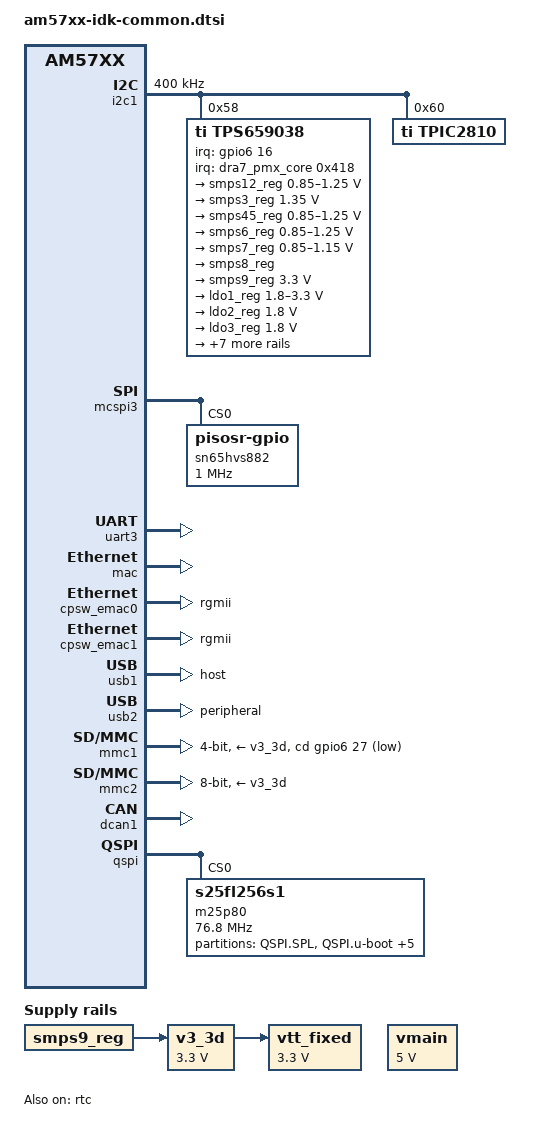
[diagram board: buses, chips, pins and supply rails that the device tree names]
/*
 * Copyright (C) 2015-2016 Texas Instruments Incorporated - http://www.ti.com/
 *
 * This program is free software; you can redistribute it and/or modify
 * it under the terms of the GNU General Public License version 2 as
 * published by the Free Software Foundation.
 */

#include "am57xx-industrial-grade.dtsi"

/ {
	aliases {
		rtc0 = &tps659038_rtc;
		rtc1 = &rtc;
	};

	chosen {
		stdout-path = &uart3;
	};

	vmain: fixedregulator-vmain {
		compatible = "regulator-fixed";
		regulator-name = "VMAIN";
		regulator-min-microvolt = <5000000>;
		regulator-max-microvolt = <5000000>;
		regulator-always-on;
		regulator-boot-on;
	};

	v3_3d: fixedregulator-v3_3d {
		compatible = "regulator-fixed";
		regulator-name = "V3_3D";
		vin-supply = <&smps9_reg>;
		regulator-min-microvolt = <3300000>;
		regulator-max-microvolt = <3300000>;
		regulator-always-on;
		regulator-boot-on;
	};

	vtt_fixed: fixedregulator-vtt {
		/* TPS51200 */
		compatible = "regulator-fixed";
		regulator-name = "vtt_fixed";
		vin-supply = <&v3_3d>;
		regulator-min-microvolt = <3300000>;
		regulator-max-microvolt = <3300000>;
		regulator-always-on;
		regulator-boot-on;
	};

	leds-iio {
		status = "disabled";
		compatible = "gpio-leds";
		led-out0 {
			label = "out0";
			gpios = <&tpic2810 0 GPIO_ACTIVE_HIGH>;
			default-state = "off";
		};

		led-out1 {
			label = "out1";
			gpios = <&tpic2810 1 GPIO_ACTIVE_HIGH>;
			default-state = "off";
		};

		led-out2 {
			label = "out2";
			gpios = <&tpic2810 2 GPIO_ACTIVE_HIGH>;
			default-state = "off";
		};

		led-out3 {
			label = "out3";
			gpios = <&tpic2810 3 GPIO_ACTIVE_HIGH>;
			default-state = "off";
		};

		led-out4 {
			label = "out4";
			gpios = <&tpic2810 4 GPIO_ACTIVE_HIGH>;
			default-state = "off";
		};

		led-out5 {
			label = "out5";
			gpios = <&tpic2810 5 GPIO_ACTIVE_HIGH>;
			default-state = "off";
		};

		led-out6 {
			label = "out6";
			gpios = <&tpic2810 6 GPIO_ACTIVE_HIGH>;
			default-state = "off";
		};

		led-out7 {
			label = "out7";
			gpios = <&tpic2810 7 GPIO_ACTIVE_HIGH>;
			default-state = "off";
		};
	};
};

&dra7_pmx_core {
	dcan1_pins_default: dcan1_pins_default {
		pinctrl-single,pins = <
			DRA7XX_CORE_IOPAD(0x37d0, PIN_OUTPUT_PULLUP | MUX_MODE0)	/* dcan1_tx */
			DRA7XX_CORE_IOPAD(0x37d4, PIN_INPUT_PULLUP | MUX_MODE0)		/* dcan1_rx */
		>;
	};

	dcan1_pins_sleep: dcan1_pins_sleep {
		pinctrl-single,pins = <
			DRA7XX_CORE_IOPAD(0x37d0, MUX_MODE15 | PULL_UP)	/* dcan1_tx.off */
			DRA7XX_CORE_IOPAD(0x37d4, MUX_MODE15 | PULL_UP)	/* dcan1_rx.off */
		>;
	};

	mmc1_pins_default: mmc1_pins_default {
		pinctrl-single,pins = <
			DRA7XX_CORE_IOPAD(0x3754, PIN_INPUT_PULLDOWN | MUX_MODE0) /* mmc1_clk.clk */
			DRA7XX_CORE_IOPAD(0x3758, PIN_INPUT_PULLUP | MUX_MODE0) /* mmc1_cmd.cmd */
			DRA7XX_CORE_IOPAD(0x375c, PIN_INPUT_PULLUP | MUX_MODE0) /* mmc1_dat0.dat0 */
			DRA7XX_CORE_IOPAD(0x3760, PIN_INPUT_PULLUP | MUX_MODE0) /* mmc1_dat1.dat1 */
			DRA7XX_CORE_IOPAD(0x3764, PIN_INPUT_PULLUP | MUX_MODE0) /* mmc1_dat2.dat2 */
			DRA7XX_CORE_IOPAD(0x3768, PIN_INPUT_PULLUP | MUX_MODE0) /* mmc1_dat3.dat3 */
		>;
	};
};

&i2c1 {
	status = "okay";
	clock-frequency = <400000>;

	tps659038: tps659038@58 {
		compatible = "ti,tps659038";
		reg = <0x58>;
		interrupts-extended = <&gpio6 16 IRQ_TYPE_LEVEL_HIGH
			       &dra7_pmx_core 0x418>;
		#interrupt-cells = <2>;
		interrupt-controller;
		ti,system-power-controller;
		ti,palmas-override-powerhold;

		tps659038_pmic {
			compatible = "ti,tps659038-pmic";

			smps12-in-supply = <&vmain>;
			smps3-in-supply = <&vmain>;
			smps45-in-supply = <&vmain>;
			smps6-in-supply = <&vmain>;
			smps7-in-supply = <&vmain>;
			smps8-in-supply = <&vmain>;
			smps9-in-supply = <&vmain>;
			ldo1-in-supply = <&vmain>;
			ldo2-in-supply = <&vmain>;
			ldo3-in-supply = <&vmain>;
			ldo4-in-supply = <&vmain>;
			ldo9-in-supply = <&vmain>;
			ldoln-in-supply = <&vmain>;
			ldousb-in-supply = <&vmain>;
			ldortc-in-supply = <&vmain>;

			regulators {
				smps12_reg: smps12 {
					/* VDD_MPU */
					regulator-name = "smps12";
					regulator-min-microvolt = <850000>;
					regulator-max-microvolt = <1250000>;
					regulator-always-on;
					regulator-boot-on;
				};

				smps3_reg: smps3 {
					/* VDD_DDR EMIF1 EMIF2 */
					regulator-name = "smps3";
					regulator-min-microvolt = <1350000>;
					regulator-max-microvolt = <1350000>;
					regulator-always-on;
					regulator-boot-on;
				};

				smps45_reg: smps45 {
					/* VDD_DSPEVE on AM572 */
					/* VDD_IVA + VDD_DSP on AM571 */
					regulator-name = "smps45";
					regulator-min-microvolt = <850000>;
					regulator-max-microvolt = <1250000>;
					regulator-always-on;
					regulator-boot-on;
				};

				smps6_reg: smps6 {
					/* VDD_GPU */
					regulator-name = "smps6";
					regulator-min-microvolt = <850000>;
					regulator-max-microvolt = <1250000>;
					regulator-always-on;
					regulator-boot-on;
				};

				smps7_reg: smps7 {
					/* VDD_CORE */
					regulator-name = "smps7";
					regulator-min-microvolt = <850000>;
					regulator-max-microvolt = <1150000>;
					regulator-always-on;
					regulator-boot-on;
				};

				smps8_reg: smps8 {
					/* 5728 - VDD_IVAHD */
					/* 5718 - N.C. test point */
					regulator-name = "smps8";
				};

				smps9_reg: smps9 {
					/* VDD_3_3D */
					regulator-name = "smps9";
					regulator-min-microvolt = <3300000>;
					regulator-max-microvolt = <3300000>;
					regulator-always-on;
					regulator-boot-on;
				};

				ldo1_reg: ldo1 {
					/* VDDSHV8 - VSDMMC  */
					/* NOTE: on rev 1.3a, data supply */
					regulator-name = "ldo1";
					regulator-min-microvolt = <1800000>;
					regulator-max-microvolt = <3300000>;
					regulator-boot-on;
					regulator-always-on;
				};

				ldo2_reg: ldo2 {
					/* VDDSH18V */
					regulator-name = "ldo2";
					regulator-min-microvolt = <1800000>;
					regulator-max-microvolt = <1800000>;
					regulator-always-on;
					regulator-boot-on;
				};

				ldo3_reg: ldo3 {
					/* R1.3a 572x V1_8PHY_LDO3: USB, SATA */
					regulator-name = "ldo3";
					regulator-min-microvolt = <1800000>;
					regulator-max-microvolt = <1800000>;
					regulator-always-on;
					regulator-boot-on;
				};

				ldo4_reg: ldo4 {
					/* R1.3a 572x V1_8PHY_LDO4: PCIE, HDMI*/
					regulator-name = "ldo4";
					regulator-min-microvolt = <1800000>;
					regulator-max-microvolt = <1800000>;
					regulator-always-on;
					regulator-boot-on;
				};

				/* LDO5-8 unused */

				ldo9_reg: ldo9 {
					/* VDD_RTC  */
					regulator-name = "ldo9";
					regulator-min-microvolt = <840000>;
					regulator-max-microvolt = <1160000>;
					regulator-always-on;
					regulator-boot-on;
				};

				ldoln_reg: ldoln {
					/* VDDA_1V8_PLL */
					regulator-name = "ldoln";
					regulator-min-microvolt = <1800000>;
					regulator-max-microvolt = <1800000>;
					regulator-always-on;
					regulator-boot-on;
				};

				ldousb_reg: ldousb {
					/* VDDA_3V_USB: VDDA_USBHS33 */
					regulator-name = "ldousb";
					regulator-min-microvolt = <3300000>;
					regulator-max-microvolt = <3300000>;
					regulator-always-on;
					regulator-boot-on;
				};

				ldortc_reg: ldortc {
					/* VDDA_RTC  */
					regulator-name = "ldortc";
					regulator-min-microvolt = <1800000>;
					regulator-max-microvolt = <1800000>;
					regulator-always-on;
					regulator-boot-on;
				};

				regen1: regen1 {
					/* VDD_3V3_ON */
					regulator-name = "regen1";
					regulator-boot-on;
					regulator-always-on;
				};

				regen2: regen2 {
					/* Needed for PMIC internal resource */
					regulator-name = "regen2";
					regulator-boot-on;
					regulator-always-on;
				};
			};
		};

		tps659038_rtc: tps659038_rtc {
			compatible = "ti,palmas-rtc";
			interrupt-parent = <&tps659038>;
			interrupts = <8 IRQ_TYPE_EDGE_FALLING>;
			wakeup-source;
		};

		tps659038_pwr_button: tps659038_pwr_button {
			compatible = "ti,palmas-pwrbutton";
			interrupt-parent = <&tps659038>;
			interrupts = <1 IRQ_TYPE_EDGE_FALLING>;
			wakeup-source;
			ti,palmas-long-press-seconds = <12>;
		};

		tps659038_gpio: tps659038_gpio {
			compatible = "ti,palmas-gpio";
			gpio-controller;
			#gpio-cells = <2>;
		};

		extcon_usb2: tps659038_usb {
			compatible = "ti,palmas-usb-vid";
			ti,enable-vbus-detection;
			ti,enable-id-detection;
			/* ID & VBUS GPIOs provided in board dts */
		};
	};

	tpic2810: tpic2810@60 {
		compatible = "ti,tpic2810";
		reg = <0x60>;
		gpio-controller;
		#gpio-cells = <2>;
	};
};

&mcspi3 {
	status = "okay";
	ti,pindir-d0-out-d1-in;

	sn65hvs882: sn65hvs882@0 {
		compatible = "pisosr-gpio";
		gpio-controller;
		#gpio-cells = <2>;

		reg = <0>;
		spi-max-frequency = <1000000>;
		spi-cpol;
	};
};

&uart3 {
	status = "okay";
	interrupts-extended = <&crossbar_mpu GIC_SPI 69 IRQ_TYPE_LEVEL_HIGH
			       &dra7_pmx_core 0x248>;
};

&rtc {
	status = "okay";
	ext-clk-src;
};

&mac {
	status = "okay";
	dual_emac;
};

&cpsw_emac0 {
	phy_id = <&davinci_mdio>, <0>;
	phy-mode = "rgmii";
	dual_emac_res_vlan = <1>;
};

&cpsw_emac1 {
	phy_id = <&davinci_mdio>, <1>;
	phy-mode = "rgmii";
	dual_emac_res_vlan = <2>;
};

&usb2_phy1 {
	phy-supply = <&ldousb_reg>;
};

&usb2_phy2 {
	phy-supply = <&ldousb_reg>;
};

&usb1 {
	dr_mode = "host";
};

&usb2 {
	dr_mode = "peripheral";
};

&mmc1 {
	status = "okay";
	vmmc-supply = <&v3_3d>;
	vqmmc-supply = <&ldo1_reg>;
	bus-width = <4>;
	cd-gpios = <&gpio6 27 GPIO_ACTIVE_LOW>; /* gpio 219 */
};

&mmc2 {
	status = "okay";
	vmmc-supply = <&v3_3d>;
	vqmmc-supply = <&v3_3d>;
	bus-width = <8>;
	ti,non-removable;
	max-frequency = <96000000>;
};

&dcan1 {
	status = "okay";
	pinctrl-names = "default", "sleep", "active";
	pinctrl-0 = <&dcan1_pins_sleep>;
	pinctrl-1 = <&dcan1_pins_sleep>;
	pinctrl-2 = <&dcan1_pins_default>;
};

&qspi {
	status = "okay";

	spi-max-frequency = <76800000>;
	m25p80@0 {
		compatible = "s25fl256s1", "jedec,spi-nor";
		spi-max-frequency = <76800000>;
		reg = <0>;
		spi-tx-bus-width = <1>;
		spi-rx-bus-width = <4>;
		#address-cells = <1>;
		#size-cells = <1>;

		/* MTD partition table.
		 * The ROM checks the first four physical blocks
		 * for a valid file to boot and the flash here is
		 * 64KiB block size.
		 */
		partition@0 {
			label = "QSPI.SPL";
			reg = <0x00000000 0x000040000>;
		};
		partition@1 {
			label = "QSPI.u-boot";
			reg = <0x00040000 0x00100000>;
		};
		partition@2 {
			label = "QSPI.u-boot-spl-os";
			reg = <0x00140000 0x00080000>;
		};
		partition@3 {
			label = "QSPI.u-boot-env";
			reg = <0x001c0000 0x00010000>;
		};
		partition@4 {
			label = "QSPI.u-boot-env.backup1";
			reg = <0x001d0000 0x0010000>;
		};
		partition@5 {
			label = "QSPI.kernel";
			reg = <0x001e0000 0x0800000>;
		};
		partition@6 {
			label = "QSPI.file-system";
			reg = <0x009e0000 0x01620000>;
		};
	};
};
